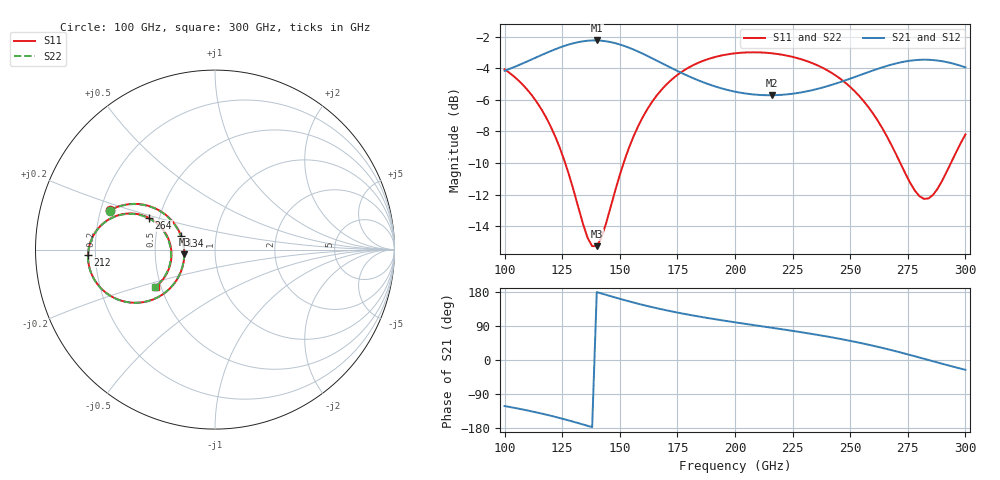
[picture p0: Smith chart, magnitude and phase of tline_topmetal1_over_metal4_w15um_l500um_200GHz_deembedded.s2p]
! Created with skrf 2.2.0 (http://scikit-rf.org).
# GHz S DB R 50.0
! Port[1] = P1
! Port[2] = P2
!freq dBS11 angS11 dBS21 angS21 dBS12 angS12 dBS22 angS22
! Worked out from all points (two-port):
!   101 points, 100 GHz to 300 GHz, reference 50 ohm
!   highest |S21| = -2.24 dB at 140 GHz (marker M1); lowest = -5.7 dB at 216 GHz (marker M2)
!   |S21| within 3 dB of the highest: start of sweep to 193.3 GHz; 237.5 GHz to end of sweep
!   lowest |S11| = -15.3 dB at 140 GHz (marker M3), VSWR 1.42, Z = 35.4 - j1.87 ohm
!   |S11| at or under -10 dB: 126.3 GHz to 151.7 GHz (25.36 GHz wide, 18.2 % of centre); 271.7 GHz to 293.7 GHz (21.97 GHz wide, 7.77 % of centre)
!   |S22| runs from -15.2 to -3.0 dB; largest |S21 - S12| = 1.1e-13
!   S11 on the Smith chart (normalised r, x): 100 GHz: 0.24, +0.17; 134 GHz: 0.68, +0.11; 212 GHz: 0.17, -0.02; 264 GHz: 0.44, +0.19; 300 GHz: 0.47, -0.23
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100  -4.07 159.6  -4.16 -121.6  -4.16 -121.6  -4.06 159.7
110  -5.38 151.9  -3.55 -133.3  -3.55 -133.3  -5.37 152.1
120  -7.68 145.6  -2.91 -147.1  -2.91 -147.1  -7.67 145.8
126  -9.87 145.0  -2.58 -156.5  -2.58 -156.5  -9.85 145.2
134  -13.84 158.1  -2.29 -170.1  -2.29 -170.1  -13.80 158.3
138  -15.26 177.0  -2.24 -177.2  -2.24 -177.2  -15.20 177.1
140  -15.27 -171.4  -2.24 179.2  -2.24 179.2  -15.21 -171.4
146  -12.80 -146.5  -2.34 168.5  -2.34 168.5  -12.77 -146.6
154  -9.03 -139.1  -2.69 154.9  -2.69 154.9  -9.02 -139.2
168  -5.37 -146.6  -3.66 134.0  -3.66 134.0  -5.37 -146.6
184  -3.65 -158.9  -4.76 115.1  -4.76 115.1  -3.65 -158.9
200  -3.05 -170.1  -5.48 99.5  -5.48 99.5  -3.05 -170.0
212  -3.00 -177.8  -5.70 88.6  -5.70 88.6  -3.00 -177.6
216  -3.05 179.7  -5.70 85.1  -5.70 85.1  -3.05 179.9
234  -3.70 168.5  -5.37 68.1  -5.37 68.1  -3.69 168.7
250  -5.18 159.0  -4.65 50.5  -4.65 50.5  -5.17 159.3
264  -7.81 154.4  -3.94 31.8  -3.94 31.8  -7.78 154.7
268  -8.89 155.3  -3.76 25.8  -3.76 25.8  -8.85 155.8
278  -11.74 169.6  -3.48 9.9  -3.48 9.9  -11.65 169.9
284  -12.24 -172.7  -3.46 -0.1  -3.46 -0.1  -12.15 -172.7
292  -10.52 -153.9  -3.61 -13.3  -3.61 -13.3  -10.45 -154.1
300  -8.19 -148.0  -3.94 -25.8  -3.94 -25.8  -8.16 -148.2
